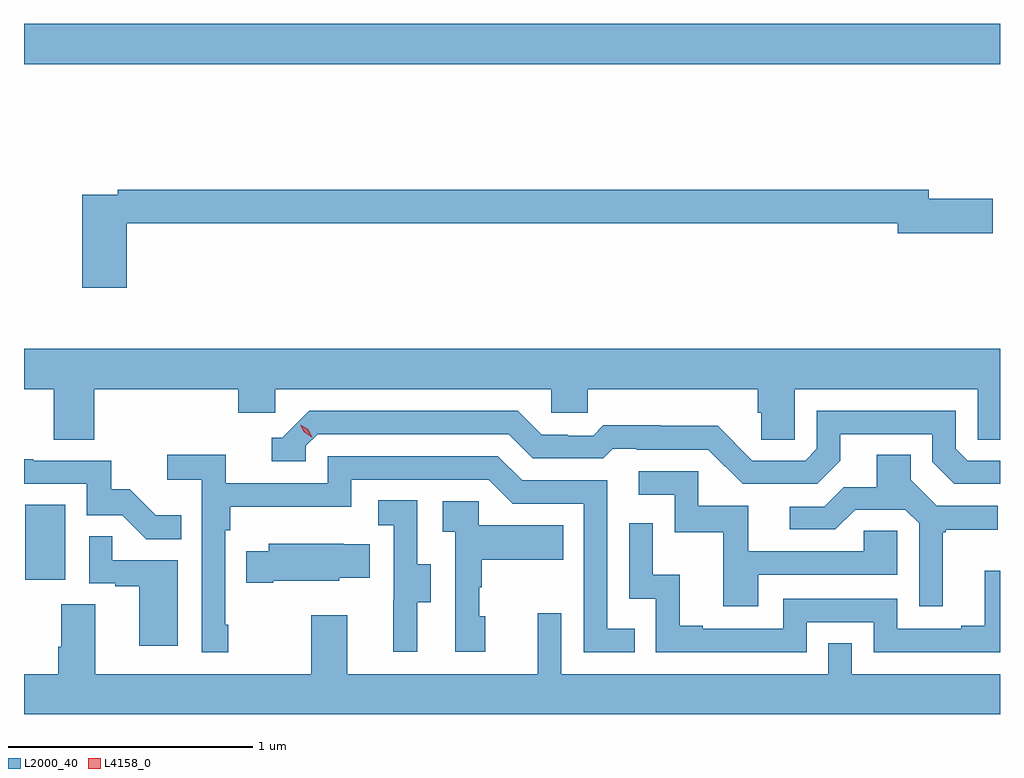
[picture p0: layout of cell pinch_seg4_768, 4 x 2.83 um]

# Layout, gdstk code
import gdstk
lib = gdstk.Library(unit=1e-6, precision=1e-09)
def R(c, l, rs):  # rectangles x0, y0, x1, y1
    for r in rs: c.add(gdstk.rectangle(r[:2], r[2:], *l))
def P(c, l, *ps):  # polygons
    for p in ps: c.add(gdstk.Polygon(p, *l))
L2000_40 = (2000, 40)
L4158_0 = (4158, 0)

pinch_seg4_768 = lib.new_cell('pinch_seg4_768')
R(pinch_seg4_768, L2000_40, [(816.668,814.686,816.832,814.993), (816.663,816.8,820.663,816.964)])
P(pinch_seg4_768, L2000_40, [(817.085,816.148),(820.244,816.148),(820.244,816.106),(820.633,816.106),(820.633,816.248),(820.372,816.248),(820.372,816.284),(817.048,816.284),(817.048,816.264),(816.902,816.264),(816.902,815.883),(817.085,815.883)],
  [(816.95,815.468),(817.541,815.468),(817.541,815.37),(817.692,815.37),(817.692,815.468),(818.823,815.468),(818.823,815.37),(818.973,815.37),(818.973,815.468),(819.671,815.468),(819.671,815.37),(819.685,815.37),(819.685,815.26),(819.822,815.26),(819.822,815.468),(820.572,815.468),(820.572,815.26),(820.663,815.26),(820.663,815.632),(816.663,815.632),(816.663,815.468),(816.785,815.468),(816.785,815.26),(816.95,815.26)],
  [(820.009,815.173),(820.009,815.283),(820.386,815.283),(820.386,815.169),(820.476,815.079),(820.663,815.079),(820.663,815.175),(820.53,815.175),(820.482,815.223),(820.482,815.379),(819.912,815.379),(819.912,815.223),(819.864,815.175),(819.648,815.175),(819.506,815.317),(819.27,815.317),(819.27,815.32),(819.037,815.32),(818.995,815.277),(818.892,815.277),(818.892,815.28),(818.785,815.28),(818.686,815.379),(817.833,815.379),(817.722,815.268),(817.679,815.268),(817.679,815.172),(817.818,815.172),(817.818,815.235),(817.866,815.283),(818.649,815.283),(818.748,815.184),(819.037,815.184),(819.076,815.223),(819.175,815.223),(819.175,815.22),(819.468,815.22),(819.609,815.079),(819.915,815.079)],
  [(817.501,814.501),(817.488,814.501),(817.488,814.889),(817.508,814.889),(817.508,814.985),(818.004,814.985),(818.004,815.097),(818.568,815.097),(818.667,814.998),(818.958,814.998),(818.958,814.389),(819.167,814.389),(819.167,814.485),(819.054,814.485),(819.054,815.094),(818.704,815.094),(818.605,815.193),(817.908,815.193),(817.908,815.082),(817.49,815.082),(817.49,815.198),(817.251,815.198),(817.251,815.096),(817.392,815.096),(817.392,814.389),(817.501,814.389)],
  [(820.429,814.881),(820.441,814.881),(820.441,814.892),(820.654,814.892),(820.654,814.989),(820.404,814.989),(820.297,815.096),(820.297,815.198),(820.157,815.198),(820.157,815.066),(820.022,815.066),(819.942,814.986),(819.801,814.986),(819.801,814.893),(819.988,814.893),(820.069,814.974),(820.275,814.974),(820.332,814.917),(820.332,814.578),(820.429,814.578)],
  [(817.307,814.951),(817.203,814.951),(817.096,815.058),(817.02,815.058),(817.02,815.175),(816.701,815.175),(816.701,815.18),(816.663,815.18),(816.663,815.079),(816.921,815.079),(816.921,814.95),(817.065,814.95),(817.163,814.852),(817.307,814.852)],
  [(819.673,814.707),(820.242,814.707),(820.242,814.887),(820.105,814.887),(820.105,814.803),(819.631,814.803),(819.631,814.989),(819.426,814.989),(819.426,815.13),(819.183,815.13),(819.183,815.034),(819.33,815.034),(819.33,814.881),(819.529,814.881),(819.529,814.578),(819.673,814.578)],
  [(818.275,814.594),(818.329,814.594),(818.329,814.749),(818.274,814.749),(818.274,815.012),(818.115,815.012),(818.115,814.909),(818.178,814.909),(818.178,814.605),(818.177,814.605),(818.177,814.392),(818.275,814.392)],
  [(818.554,814.536),(818.529,814.536),(818.529,814.655),(818.539,814.655),(818.539,814.769),(818.873,814.769),(818.873,814.909),(818.526,814.909),(818.526,815.007),(818.379,815.007),(818.379,814.883),(818.43,814.883),(818.43,814.392),(818.554,814.392)],
  [(819.87,814.512),(820.146,814.512),(820.146,814.389),(820.663,814.389),(820.663,814.723),(820.601,814.723),(820.601,814.498),(820.505,814.498),(820.505,814.485),(820.242,814.485),(820.242,814.608),(819.774,814.608),(819.774,814.485),(819.445,814.485),(819.445,814.498),(819.35,814.498),(819.35,814.706),(819.24,814.706),(819.24,814.918),(819.144,814.918),(819.144,814.608),(819.252,814.608),(819.252,814.389),(819.87,814.389)],
  [(817.294,814.767),(817.025,814.767),(817.025,814.865),(816.93,814.865),(816.93,814.671),(817.037,814.671),(817.037,814.659),(817.136,814.659),(817.136,814.416),(817.294,814.416)],
  [(817.684,814.682),(817.956,814.682),(817.956,814.694),(818.081,814.694),(818.081,814.831),(817.973,814.831),(817.973,814.834),(817.667,814.834),(817.667,814.804),(817.573,814.804),(817.573,814.675),(817.684,814.675)],
  [(820.663,814.3),(820.056,814.3),(820.056,814.427),(819.96,814.427),(819.96,814.3),(818.865,814.3),(818.865,814.549),(818.768,814.549),(818.768,814.3),(817.987,814.3),(817.987,814.54),(817.84,814.54),(817.84,814.3),(816.955,814.3),(816.955,814.586),(816.815,814.586),(816.815,814.412),(816.803,814.412),(816.803,814.3),(816.663,814.3),(816.663,814.136),(820.663,814.136)])
P(pinch_seg4_768, L4158_0, [(817.843,815.27),(817.812,815.29),(817.796,815.322),(817.796,815.322),(817.796,815.322),(817.827,815.303),(817.844,815.27),(817.844,815.27)])

lib.write_gds('pinch_seg4_768.gds')
